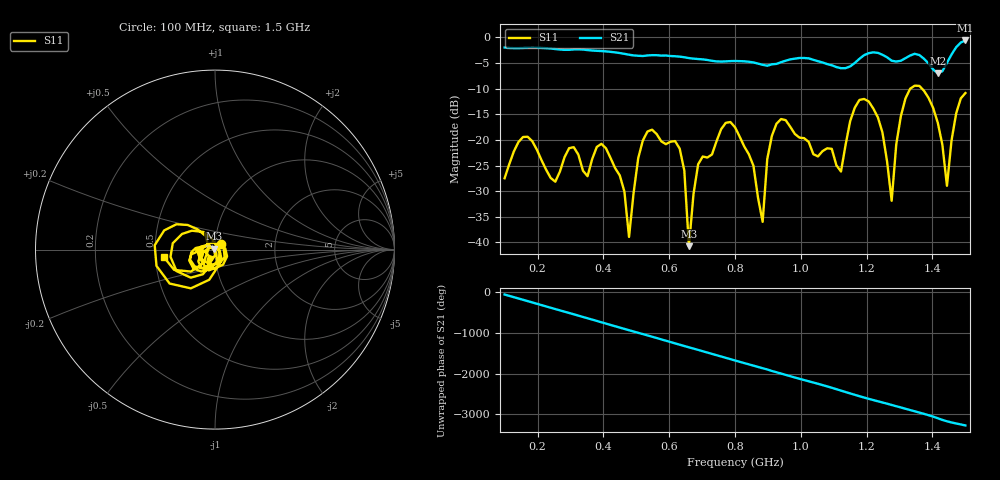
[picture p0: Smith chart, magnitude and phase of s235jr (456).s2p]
! NanoVNA-App
! Date: 2025-09-25 15:07:42
! Start: 100MHz Stop: 1,5GHz Points: 101
! S-Parameter data: F S11 S21 S12 S22
# Hz S RI R 50
!  Frequency  S11_Real  S11_Imag  S21_Real  S21_Imag  S12_Real  S12_Imag  S22_Real  S22_Imag
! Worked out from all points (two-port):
!   101 points, 100 MHz to 1.5 GHz, reference 50 ohm
!   highest |S21| = -0.59 dB at 1.5 GHz (marker M1); lowest = -7.0 dB at 1.416 GHz (marker M2)
!   |S21| within 3 dB of the highest: start of sweep to 509.8 MHz; 524.5 MHz to 599.1 MHz (74.56 MHz wide, 13.3 % of centre) (the widest 2 of 5)
!   lowest |S11| = -40.7 dB at 660 MHz (marker M3), VSWR 1.02, Z = 49.3 + j0.535 ohm
!   |S11| at or under -10 dB: start of sweep to 1.332 GHz; 1.368 GHz to end of sweep
!   S12 and S22 are empty: the file has one direction only
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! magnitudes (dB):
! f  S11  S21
! 100 MHz  -27.5  -2.0
! 156 MHz  -19.4  -2.0
! 338 MHz  -26.0  -2.4
! 408 MHz  -21.6  -2.7
! 478 MHz  -38.9  -3.4
! 520 MHz  -20.1  -3.6
! 576 MHz  -20.3  -3.5
! 632 MHz  -21.7  -3.7
! 660 MHz  -40.7  -4.0
! 688 MHz  -24.7  -4.2
! 800 MHz  -17.5  -4.6
! 884 MHz  -36.0  -5.3
! 898 MHz  -23.7  -5.5
! 926 MHz  -16.8  -5.2
! 1.038 GHz  -22.8  -4.4
! 1.122 GHz  -26.2  -6.0
! 1.206 GHz  -12.5  -3.1
! 1.276 GHz  -31.9  -4.5
! 1.332 GHz  -10.0  -3.5
! 1.416 GHz  -16.6  -7.0
! 1.444 GHz  -28.9  -5.0
! 1.5 GHz  -10.8  -0.6
